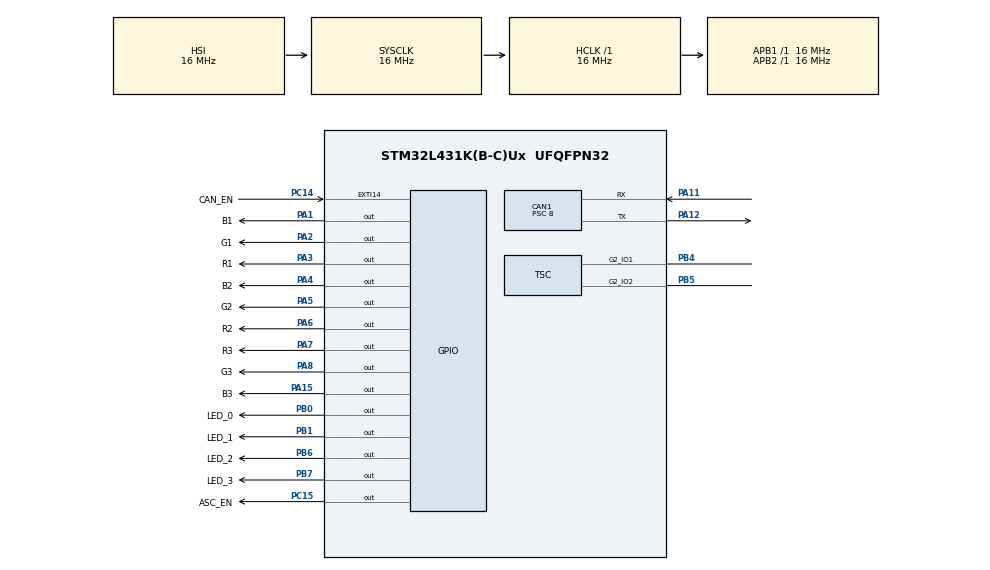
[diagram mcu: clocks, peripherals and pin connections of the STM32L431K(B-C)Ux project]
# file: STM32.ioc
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CAN1.ABOM=ENABLE
CAN1.AWUM=ENABLE
CAN1.BS1=CAN_BS1_13TQ
CAN1.BS2=CAN_BS2_2TQ
CAN1.CalculateBaudRate=125000
CAN1.CalculateTimeBit=8000
CAN1.CalculateTimeQuantum=500.0
CAN1.Prescaler=8
CAN1.SJW=CAN_SJW_4TQ
FREERTOS.HEAP_NUMBER=5
FREERTOS.INCLUDE_pcTaskGetTaskName=1
FREERTOS.INCLUDE_vTaskCleanUpResources=1
FREERTOS.Queues01=PPO2Queue,1,CellValues_t,0,Static,PPO2QueueBuffer,PPO2QueueControlBlock;CellStatQueue,1,uint8_t,0,Static,CellStatBuffer,CellStatControlBlock
FREERTOS.Tasks01=TSCTask,24,128,TSCTaskFunc,Default,NULL,Static,TSCTaskBuffer,TSCTaskControlBlock;BlinkTask,32,512,BlinkTaskFunc,Default,NULL,Static,BlinkTaskBuffer,BlinkTaskControlBlock;AlertTask,24,128,AlertTaskFunc,Default,NULL,Static,AlertTaskBuffer,AlertTaskControlBlock
FREERTOS.configCHECK_FOR_STACK_OVERFLOW=2
FREERTOS.configENABLE_BACKWARD_COMPATIBILITY=0
FREERTOS.configENABLE_FPU=1
FREERTOS.configGENERATE_RUN_TIME_STATS=1
FREERTOS.configRECORD_STACK_HIGH_ADDRESS=1
FREERTOS.configTICK_RATE_HZ=100
FREERTOS.configTOTAL_HEAP_SIZE=1024
FREERTOS.configUSE_IDLE_HOOK=1
FREERTOS.configUSE_MALLOC_FAILED_HOOK=1
FREERTOS.configUSE_NEWLIB_REENTRANT=1
FREERTOS.configUSE_PREEMPTION=0
FREERTOS.configUSE_STATS_FORMATTING_FUNCTIONS=1
FREERTOS.configUSE_TICKLESS_IDLE=1
IWDG.Prescaler=IWDG_PRESCALER_32
Mcu.Family=STM32L4
Mcu.Name=STM32L431K(B-C)Ux
Mcu.Package=UFQFPN32
NVIC.CAN1_RX0_IRQn=true\:5\:0\:false\:true\:true\:2\:true\:true\:true\:true
NVIC.CAN1_RX1_IRQn=true\:5\:0\:false\:true\:true\:3\:true\:true\:true\:true
NVIC.EXTI15_10_IRQn=true\:5\:0\:false\:true\:true\:1\:true\:true\:true\:true
NVIC.PriorityGroup=NVIC_PRIORITYGROUP_4
NVIC.TIM6_DAC_IRQn=true\:15\:0\:false\:false\:true\:false\:false\:true\:true
NVIC.TIM7_IRQn=true\:5\:0\:false\:false\:true\:true\:true\:true\:true
NVIC.TimeBase=TIM6_DAC_IRQn
NVIC.TimeBaseIP=TIM6
PA0.Mode=HSE-External-Clock-Source-for-LittleOrca
PA0.Signal=RCC_CK_IN
PA1.GPIO_Label=B1
PA1.Signal=GPIO_Output
PA11.Mode=CAN_Activate
PA11.Signal=CAN1_RX
PA12.Mode=CAN_Activate
PA12.Signal=CAN1_TX
PA13\ (JTMS-SWDIO).Mode=Trace_Asynchronous_SW
PA13\ (JTMS-SWDIO).Signal=SYS_JTMS-SWDIO
PA14\ (JTCK-SWCLK).Mode=Trace_Asynchronous_SW
PA14\ (JTCK-SWCLK).Signal=SYS_JTCK-SWCLK
PA15\ (JTDI).GPIO_Label=B3
PA15\ (JTDI).Signal=GPIO_Output
PA2.GPIO_Label=G1
PA2.Signal=GPIO_Output
PA3.GPIO_Label=R1
PA3.Signal=GPIO_Output
PA4.GPIO_Label=B2
PA4.Signal=GPIO_Output
PA5.GPIO_Label=G2
PA5.Signal=GPIO_Output
PA6.GPIO_Label=R2
PA6.Signal=GPIO_Output
PA7.GPIO_Label=R3
PA7.Signal=GPIO_Output
PA8.GPIO_Label=G3
PA8.Signal=GPIO_Output
PB0.GPIO_Label=LED_0
PB0.Signal=GPIO_Output
PB1.GPIO_Label=LED_1
PB1.Signal=GPIO_Output
PB3\ (JTDO-TRACESWO).Mode=Trace_Asynchronous_SW
PB3\ (JTDO-TRACESWO).Signal=SYS_JTDO-SWO
PB4\ (NJTRST).Mode=G2_IO1-Channel
PB4\ (NJTRST).Signal=TSC_G2_IO1
PB5.Mode=G2_IO2-Sampling
PB5.Signal=TSC_G2_IO2
PB6.GPIO_Label=LED_2
PB6.Signal=GPIO_Output
PB7.GPIO_Label=LED_3
PB7.Signal=GPIO_Output
PC14-OSC32_IN\ (PC14).GPIO_Label=CAN_EN
PC14-OSC32_IN\ (PC14).Signal=GPXTI14
PC15-OSC32_OUT\ (PC15).GPIO_Label=ASC_EN
PC15-OSC32_OUT\ (PC15).Signal=GPIO_Output
ProjectManager.HeapSize=0x200
ProjectManager.StackSize=0x400
ProjectManager.TargetToolchain=Makefile
RCC.ADCFreq_Value=32000000
RCC.AHBFreq_Value=16000000
RCC.APB1Freq_Value=16000000
RCC.APB1TimFreq_Value=16000000
RCC.APB2Freq_Value=16000000
RCC.APB2TimFreq_Value=16000000
RCC.CortexFreq_Value=16000000
RCC.HCLKFreq_Value=16000000
RCC.HSE_VALUE=8000000
RCC.HSI48_VALUE=48000000
RCC.HSI_VALUE=16000000
RCC.LSE_VALUE=32768
RCC.MSI_VALUE=4000000
RCC.PLLR=RCC_PLLR_DIV8
RCC.PLLSourceVirtual=RCC_PLLSOURCE_HSE
RCC.SYSCLKFreq_VALUE=16000000
RCC.SYSCLKSource=RCC_SYSCLKSOURCE_HSI
RCC.VCOOutputFreq_Value=64000000
SYS.PVDLevel=PWR_PVDLEVEL_6
TIM7.Period=1600
TOUCHSENSING.IO_TOUCHKEY_B1=G2_IO1
TOUCHSENSING.TSLPRM_SENSORS_DATAS=TSLPRM_TOTAL_TOUCHKEYS_B 1 1 
TOUCHSENSING.TSLPRM_TKEY_DETECT_IN_TH=20
TOUCHSENSING.TSLPRM_TKEY_DETECT_OUT_TH=15
TOUCHSENSING.TSLPRM_TOTAL_TOUCHKEYS=0
TOUCHSENSING.TSLPRM_TOTAL_TOUCHKEYS_B=1
TSC.ChannelIOs-G2_IO1=TSC_GROUP2_IO1
TSC.IODefaultMode=TSC_IODEF_OUT_PP_LOW
TSC.SamplingIOs=TSC_GROUP2_IO2
VP_CRC_VS_CRC.Mode=CRC_Activate
VP_FREERTOS_VS_CMSIS_V2.Mode=CMSIS_V2
VP_IWDG_VS_IWDG.Mode=IWDG_Activate
VP_SYS_VS_LPOM.Mode=PowerOptimisation
VP_SYS_VS_tim6.Mode=TIM6
VP_SYS_V_PVD_IN.Mode=Mode_PVD_Int
VP_TIM7_VS_ClockSourceINT.Mode=Enable_Timer
VP_TOUCHSENSING_VS_TOUCHSENSING.Mode=TouchSensing_Enabled
board=custom

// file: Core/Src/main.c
/* USER CODE BEGIN Header */
/**
 ******************************************************************************
 * @file           : main.c
 * @brief          : Main program body
 ******************************************************************************
 * @attention
 *
 * Copyright (c) 2025 STMicroelectronics.
 * All rights reserved.
 *
 * This software is licensed under terms that can be found in the LICENSE file
 * in the root directory of this software component.
 * If no LICENSE file comes with this software, it is provided AS-IS.
 *
 ******************************************************************************
 */
/* USER CODE END Header */
#include "main.h"
#include "cmsis_os.h"
#include "touchsensing.h"

/* USER CODE BEGIN Includes */
#include "Hardware/leds.h"
#include "DiveCAN/DiveCAN.h"
#include "DiveCAN/Transciever.h"
#include "Hardware/pwr_management.h"
#include "Hardware/flash.h"
#include "menu_state_machine.h"
#include "HUDControl.h"
/* USER CODE END Includes */

typedef StaticTask_t osStaticThreadDef_t;
typedef StaticQueue_t osStaticMessageQDef_t;

CAN_HandleTypeDef hcan1;

CRC_HandleTypeDef hcrc;

IWDG_HandleTypeDef hiwdg;

TIM_HandleTypeDef htim7;

TSC_HandleTypeDef htsc;

/* Definitions for TSCTask */
osThreadId_t TSCTaskHandle;
uint32_t TSCTaskBuffer[128];
osStaticThreadDef_t TSCTaskControlBlock;
const osThreadAttr_t TSCTask_attributes = {
    .name = "TSCTask",
    .cb_mem = &TSCTaskControlBlock,
    .cb_size = sizeof(TSCTaskControlBlock),
    .stack_mem = &TSCTaskBuffer[0],
    .stack_size = sizeof(TSCTaskBuffer),
    .priority = (osPriority_t)osPriorityNormal,
};
/* Definitions for BlinkTask */
osThreadId_t BlinkTaskHandle;
uint32_t BlinkTaskBuffer[512];
osStaticThreadDef_t BlinkTaskControlBlock;
const osThreadAttr_t BlinkTask_attributes = {
    .name = "BlinkTask",
    .cb_mem = &BlinkTaskControlBlock,
    .cb_size = sizeof(BlinkTaskControlBlock),
    .stack_mem = &BlinkTaskBuffer[0],
    .stack_size = sizeof(BlinkTaskBuffer),
    .priority = (osPriority_t)osPriorityAboveNormal,
};
/* Definitions for AlertTask */
osThreadId_t AlertTaskHandle;
uint32_t AlertTaskBuffer[128];
osStaticThreadDef_t AlertTaskControlBlock;
const osThreadAttr_t AlertTask_attributes = {
    .name = "AlertTask",
    .cb_mem = &AlertTaskControlBlock,
    .cb_size = sizeof(AlertTaskControlBlock),
    .stack_mem = &AlertTaskBuffer[0],
    .stack_size = sizeof(AlertTaskBuffer),
    .priority = (osPriority_t)osPriorityNormal,
};
/* Definitions for PPO2Queue */
osMessageQueueId_t PPO2QueueHandle;
uint8_t PPO2QueueBuffer[1 * sizeof(CellValues_t)];
osStaticMessageQDef_t PPO2QueueControlBlock;
const osMessageQueueAttr_t PPO2Queue_attributes = {
    .name = "PPO2Queue",
    .cb_mem = &PPO2QueueControlBlock,
    .cb_size = sizeof(PPO2QueueControlBlock),
    .mq_mem = &PPO2QueueBuffer,
    .mq_size = sizeof(PPO2QueueBuffer)};
/* Definitions for CellStatQueue */
osMessageQueueId_t CellStatQueueHandle;
uint8_t CellStatBuffer[1 * sizeof(uint8_t)];
osStaticMessageQDef_t CellStatControlBlock;
const osMessageQueueAttr_t CellStatQueue_attributes = {
    .name = "CellStatQueue",
    .cb_mem = &CellStatControlBlock,
    .cb_size = sizeof(CellStatControlBlock),
    .mq_mem = &CellStatBuffer,
    .mq_size = sizeof(CellStatBuffer)};
/* Definitions for CalStateQueue */
osMessageQueueId_t CalStateQueueHandle;
uint8_t CalStateBuffer[1 * sizeof(CalibrationState_t)];
osStaticMessageQDef_t CalStateControlBlock;
const osMessageQueueAttr_t CalStateQueue_attributes = {
    .name = "CalStateQueue",
    .cb_mem = &CalStateControlBlock,
    .cb_size = sizeof(CalStateControlBlock),
    .mq_mem = &CalStateBuffer,
    .mq_size = sizeof(CalStateBuffer)};

void SystemClock_Config(void);
static void MX_GPIO_Init(void);
static void MX_CAN1_Init(void);
static void MX_TSC_Init(void);
static void MX_CRC_Init(void);
static void MX_IWDG_Init(void);
static void MX_TIM7_Init(void);
void TSCTaskFunc(void *argument);
void BlinkTaskFunc(void *argument);
void AlertTaskFunc(void *argument);

static void MX_NVIC_Init(void);

/* USER CODE BEGIN 0 */

/* Standard HAL structure defined globally or in main */
extern TSC_HandleTypeDef htsc;

uint32_t Get_TSC_RawValue(uint32_t ChannelIO, uint32_t SamplingIO, uint32_t GroupIndex)
{
  uint32_t raw_value = 0;
  TSC_IOConfigTypeDef ioConfig = {0};

  // 1. Discharge all IOs to ensure a clean starting state
  HAL_TSC_IODischarge(&htsc, ENABLE);
  HAL_Delay(1); // Wait for discharge (depends on Cs value)
  HAL_TSC_IODischarge(&htsc, DISABLE);

  // 2. Configure the specific IO Group for this measurement
  ioConfig.ChannelIOs = ChannelIO;   // e.g., TSC_GROUP2_IO1
  ioConfig.SamplingIOs = SamplingIO; // e.g., TSC_GROUP2_IO2
  if (HAL_TSC_IOConfig(&htsc, &ioConfig) != HAL_OK)
  {
    return 0xFFFF; // Error
  }

  // 3. Start acquisition and poll for completion
  if (HAL_TSC_Start(&htsc) == HAL_OK)
  {
    // Polling avoids the need for the RTOS scheduler or interrupts
    if (HAL_TSC_PollForAcquisition(&htsc) == HAL_OK)
    {
      // 4. Retrieve the raw counter value for the group
      raw_value = HAL_TSC_GroupGetValue(&htsc, GroupIndex);
    }
    else
    {
      NON_FATAL_ERROR(TSC_ERR);
    }
  }
  else
  {
    NON_FATAL_ERROR(TSC_ERR);
  }

  return raw_value;
}

/* USER CODE END 0 */

int main(void)
{

  /* MCU Configuration--------------------------------------------------------*/

  /* Reset of all peripherals, Initializes the Flash interface and the Systick. */
  HAL_Init();

  /* Configure the system clock */
  SystemClock_Config();

  /* Initialize all configured peripherals */
  MX_GPIO_Init();
  MX_CAN1_Init();
  MX_TSC_Init();
  MX_TOUCHSENSING_Init();
  MX_CRC_Init();
  MX_IWDG_Init();
  MX_TIM7_Init();

  /* Initialize interrupts */
  MX_NVIC_Init();
  /* USER CODE BEGIN 2 */

  // Check for finger before starting up

  const uint16_t LED_Pins[4] = {LED_0_Pin, LED_1_Pin, LED_2_Pin, LED_3_Pin};
  GPIO_TypeDef *LED_Ports[4] = {LED_0_GPIO_Port, LED_1_GPIO_Port, LED_2_GPIO_Port, LED_3_GPIO_Port};

  for (uint8_t i = 0; i < 4; i++)
  {
    volatile uint32_t touchVal = Get_TSC_RawValue(TSC_GROUP2_IO1, TSC_GROUP2_IO2, TSC_GROUP2_IDX);
    if (touchVal > 590)
    {
      Shutdown();
    }
    HAL_GPIO_WritePin(LED_Ports[i], LED_Pins[i], GPIO_PIN_SET);
    HAL_Delay(500);
    (void)HAL_IWDG_Refresh(&hiwdg);
  }

  initFlash();

  const DiveCANDevice_t defaultDeviceSpec = {
      .name = "ALHUD",
      .type = DIVECAN_MONITOR,
      .manufacturerID = DIVECAN_MANUFACTURER_SRI,
      .firmwareVersion = 1};

  (void)HAL_IWDG_Refresh(&hiwdg);
  initLEDs();

  InitDiveCAN(&defaultDeviceSpec);
  /* USER CODE END 2 */

  /* Init scheduler */
  osKernelInitialize();

  /* Create the queue(s) */
  /* creation of PPO2Queue */
  PPO2QueueHandle = osMessageQueueNew(1, sizeof(CellValues_t), &PPO2Queue_attributes);

  /* creation of CellStatQueue */
  CellStatQueueHandle = osMessageQueueNew(1, sizeof(uint8_t), &CellStatQueue_attributes);

  /* creation of CalStateQueue */
  CalStateQueueHandle = osMessageQueueNew(1, sizeof(CalibrationState_t), &CalStateQueue_attributes);

  /* Create the thread(s) */
  /* creation of TSCTask */
  TSCTaskHandle = osThreadNew(TSCTaskFunc, NULL, &TSCTask_attributes);

  /* creation of BlinkTask */
  BlinkTaskHandle = osThreadNew(BlinkTaskFunc, NULL, &BlinkTask_attributes);

  /* creation of AlertTask */
  AlertTaskHandle = osThreadNew(AlertTaskFunc, NULL, &AlertTask_attributes);

  /* Start scheduler */
  osKernelStart();

  /* We should never get here as control is now taken by the scheduler */

  /* Infinite loop */
  while (1)
  {

    /* USER CODE BEGIN 3 */
    NVIC_SystemReset();
  }
  /* USER CODE END 3 */
}

void SystemClock_Config(void)
{
  RCC_OscInitTypeDef RCC_OscInitStruct = {0};
  RCC_ClkInitTypeDef RCC_ClkInitStruct = {0};

  /** Configure the main internal regulator output voltage
   */
  if (HAL_PWREx_ControlVoltageScaling(PWR_REGULATOR_VOLTAGE_SCALE1) != HAL_OK)
  {
    Error_Handler();
  }

  /** Initializes the RCC Oscillators according to the specified parameters
   * in the RCC_OscInitTypeDef structure.
   */
  RCC_OscInitStruct.OscillatorType = RCC_OSCILLATORTYPE_HSI | RCC_OSCILLATORTYPE_LSI;
  RCC_OscInitStruct.HSIState = RCC_HSI_ON;
  RCC_OscInitStruct.HSICalibrationValue = RCC_HSICALIBRATION_DEFAULT;
  RCC_OscInitStruct.LSIState = RCC_LSI_ON;
  RCC_OscInitStruct.PLL.PLLState = RCC_PLL_NONE;
  if (HAL_RCC_OscConfig(&RCC_OscInitStruct) != HAL_OK)
  {
    Error_Handler();
  }

  /** Initializes the CPU, AHB and APB buses clocks
   */
  RCC_ClkInitStruct.ClockType = RCC_CLOCKTYPE_HCLK | RCC_CLOCKTYPE_SYSCLK | RCC_CLOCKTYPE_PCLK1 | RCC_CLOCKTYPE_PCLK2;
  RCC_ClkInitStruct.SYSCLKSource = RCC_SYSCLKSOURCE_HSI;
  RCC_ClkInitStruct.AHBCLKDivider = RCC_SYSCLK_DIV1;
  RCC_ClkInitStruct.APB1CLKDivider = RCC_HCLK_DIV1;
  RCC_ClkInitStruct.APB2CLKDivider = RCC_HCLK_DIV1;

  if (HAL_RCC_ClockConfig(&RCC_ClkInitStruct, FLASH_LATENCY_0) != HAL_OK)
  {
    Error_Handler();
  }
}

/**
 * @brief NVIC Configuration.
 * @retval None
 */
static void MX_NVIC_Init(void)
{
  /* EXTI15_10_IRQn interrupt configuration */
  HAL_NVIC_SetPriority(EXTI15_10_IRQn, 5, 0);
  HAL_NVIC_EnableIRQ(EXTI15_10_IRQn);
  /* CAN1_RX0_IRQn interrupt configuration */
  HAL_NVIC_SetPriority(CAN1_RX0_IRQn, 5, 0);
  HAL_NVIC_EnableIRQ(CAN1_RX0_IRQn);
  /* CAN1_RX1_IRQn interrupt configuration */
  HAL_NVIC_SetPriority(CAN1_RX1_IRQn, 5, 0);
  HAL_NVIC_EnableIRQ(CAN1_RX1_IRQn);
}

static void MX_CAN1_Init(void)
{

  hcan1.Instance = CAN1;
  hcan1.Init.Prescaler = 8;
  hcan1.Init.Mode = CAN_MODE_NORMAL;
  hcan1.Init.SyncJumpWidth = CAN_SJW_4TQ;
  hcan1.Init.TimeSeg1 = CAN_BS1_13TQ;
  hcan1.Init.TimeSeg2 = CAN_BS2_2TQ;
  hcan1.Init.TimeTriggeredMode = DISABLE;
  hcan1.Init.AutoBusOff = ENABLE;
  hcan1.Init.AutoWakeUp = ENABLE;
  hcan1.Init.AutoRetransmission = DISABLE;
  hcan1.Init.ReceiveFifoLocked = DISABLE;
  hcan1.Init.TransmitFifoPriority = DISABLE;
  if (HAL_CAN_Init(&hcan1) != HAL_OK)
  {
    Error_Handler();
  }
  /* USER CODE BEGIN CAN1_Init 2 */
  CAN_FilterTypeDef sFilterConfig = {0};
  sFilterConfig.FilterFIFOAssignment = CAN_FILTER_FIFO0; /* set fifo assignment */
  sFilterConfig.FilterIdHigh = 0;
  sFilterConfig.FilterIdLow = 0;
  sFilterConfig.FilterMaskIdHigh = 0;
  sFilterConfig.FilterMaskIdLow = 0;
  sFilterConfig.FilterScale = CAN_FILTERSCALE_32BIT; /* set filter scale */
  sFilterConfig.FilterActivation = ENABLE;
  (void)HAL_CAN_ConfigFilter(&hcan1, &sFilterConfig);
  (void)HAL_CAN_Start(&hcan1);                                             /* start CAN */
  (void)HAL_CAN_ActivateNotification(&hcan1, CAN_IT_RX_FIFO0_MSG_PENDING); /* enable interrupts */
  /* USER CODE END CAN1_Init 2 */
}

static void MX_CRC_Init(void)
{

  hcrc.Instance = CRC;
  hcrc.Init.DefaultPolynomialUse = DEFAULT_POLYNOMIAL_ENABLE;
  hcrc.Init.DefaultInitValueUse = DEFAULT_INIT_VALUE_ENABLE;
  hcrc.Init.InputDataInversionMode = CRC_INPUTDATA_INVERSION_NONE;
  hcrc.Init.OutputDataInversionMode = CRC_OUTPUTDATA_INVERSION_DISABLE;
  hcrc.InputDataFormat = CRC_INPUTDATA_FORMAT_BYTES;
  if (HAL_CRC_Init(&hcrc) != HAL_OK)
  {
    Error_Handler();
  }
}

static void MX_IWDG_Init(void)
{

  hiwdg.Instance = IWDG;
  hiwdg.Init.Prescaler = IWDG_PRESCALER_32;
  hiwdg.Init.Window = 4095;
  hiwdg.Init.Reload = 4095;
  if (HAL_IWDG_Init(&hiwdg) != HAL_OK)
  {
    Error_Handler();
  }
  /* USER CODE BEGIN IWDG_Init 2 */
  /* Freeze the IWDG on debug so we don't need to disable it as a matter of routine */
  __HAL_DBGMCU_FREEZE_IWDG();
  /* USER CODE END IWDG_Init 2 */
}

static void MX_TIM7_Init(void)
{

  TIM_MasterConfigTypeDef sMasterConfig = {0};

  htim7.Instance = TIM7;
  htim7.Init.Prescaler = 0;
  htim7.Init.CounterMode = TIM_COUNTERMODE_UP;
  htim7.Init.Period = 1600;
  htim7.Init.AutoReloadPreload = TIM_AUTORELOAD_PRELOAD_DISABLE;
  if (HAL_TIM_Base_Init(&htim7) != HAL_OK)
  {
    Error_Handler();
  }
  sMasterConfig.MasterOutputTrigger = TIM_TRGO_RESET;
  sMasterConfig.MasterSlaveMode = TIM_MASTERSLAVEMODE_DISABLE;
  if (HAL_TIMEx_MasterConfigSynchronization(&htim7, &sMasterConfig) != HAL_OK)
  {
    Error_Handler();
  }
}

static void MX_TSC_Init(void)
{

  /** Configure the TSC peripheral
   */
  htsc.Instance = TSC;
  htsc.Init.CTPulseHighLength = TSC_CTPH_2CYCLES;
  htsc.Init.CTPulseLowLength = TSC_CTPL_2CYCLES;
  htsc.Init.SpreadSpectrum = DISABLE;
  htsc.Init.SpreadSpectrumDeviation = 1;
  htsc.Init.SpreadSpectrumPrescaler = TSC_SS_PRESC_DIV1;
  htsc.Init.PulseGeneratorPrescaler = TSC_PG_PRESC_DIV4;
  htsc.Init.MaxCountValue = TSC_MCV_8191;
  htsc.Init.IODefaultMode = TSC_IODEF_OUT_PP_LOW;
  htsc.Init.SynchroPinPolarity = TSC_SYNC_POLARITY_FALLING;
  htsc.Init.AcquisitionMode = TSC_ACQ_MODE_NORMAL;
  htsc.Init.MaxCountInterrupt = DISABLE;
  htsc.Init.ChannelIOs = TSC_GROUP2_IO1;
  htsc.Init.ShieldIOs = 0;
  htsc.Init.SamplingIOs = TSC_GROUP2_IO2;
  if (HAL_TSC_Init(&htsc) != HAL_OK)
  {
    Error_Handler();
  }
}

static void MX_GPIO_Init(void)
{
  GPIO_InitTypeDef GPIO_InitStruct = {0};

  /* GPIO Ports Clock Enable */
  __HAL_RCC_GPIOC_CLK_ENABLE();
  __HAL_RCC_GPIOA_CLK_ENABLE();
  __HAL_RCC_GPIOB_CLK_ENABLE();
  __HAL_RCC_GPIOH_CLK_ENABLE();

  /*Configure GPIO pin Output Level */
  HAL_GPIO_WritePin(ASC_EN_GPIO_Port, ASC_EN_Pin, GPIO_PIN_RESET);

  /*Configure GPIO pin Output Level */
  HAL_GPIO_WritePin(GPIOA, B1_Pin | G1_Pin | R1_Pin | B2_Pin | G2_Pin | R2_Pin | R3_Pin | G3_Pin | B3_Pin, GPIO_PIN_RESET);

  /*Configure GPIO pin Output Level */
  HAL_GPIO_WritePin(GPIOB, LED_0_Pin | LED_1_Pin | LED_2_Pin | LED_3_Pin, GPIO_PIN_RESET);

  /*Configure GPIO pin : CAN_EN_Pin */
  GPIO_InitStruct.Pin = CAN_EN_Pin;
  GPIO_InitStruct.Mode = GPIO_MODE_IT_RISING;
  GPIO_InitStruct.Pull = GPIO_NOPULL;
  HAL_GPIO_Init(CAN_EN_GPIO_Port, &GPIO_InitStruct);

  /*Configure GPIO pin : ASC_EN_Pin */
  GPIO_InitStruct.Pin = ASC_EN_Pin;
  GPIO_InitStruct.Mode = GPIO_MODE_OUTPUT_PP;
  GPIO_InitStruct.Pull = GPIO_NOPULL;
  GPIO_InitStruct.Speed = GPIO_SPEED_FREQ_LOW;
  HAL_GPIO_Init(ASC_EN_GPIO_Port, &GPIO_InitStruct);

  /*Configure GPIO pins : B1_Pin G1_Pin R1_Pin B2_Pin
                           G2_Pin R2_Pin R3_Pin G3_Pin
                           B3_Pin */
  GPIO_InitStruct.Pin = B1_Pin | G1_Pin | R1_Pin | B2_Pin | G2_Pin | R2_Pin | R3_Pin | G3_Pin | B3_Pin;
  GPIO_InitStruct.Mode = GPIO_MODE_OUTPUT_PP;
  GPIO_InitStruct.Pull = GPIO_NOPULL;
  GPIO_InitStruct.Speed = GPIO_SPEED_FREQ_LOW;
  HAL_GPIO_Init(GPIOA, &GPIO_InitStruct);

  /*Configure GPIO pins : LED_0_Pin LED_1_Pin LED_2_Pin LED_3_Pin */
  GPIO_InitStruct.Pin = LED_0_Pin | LED_1_Pin | LED_2_Pin | LED_3_Pin;
  GPIO_InitStruct.Mode = GPIO_MODE_OUTPUT_PP;
  GPIO_InitStruct.Pull = GPIO_NOPULL;
  GPIO_InitStruct.Speed = GPIO_SPEED_FREQ_LOW;
  HAL_GPIO_Init(GPIOB, &GPIO_InitStruct);

  /*Configure GPIO pins : PA9 PA10 */
  GPIO_InitStruct.Pin = GPIO_PIN_9 | GPIO_PIN_10;
  GPIO_InitStruct.Mode = GPIO_MODE_ANALOG;
  GPIO_InitStruct.Pull = GPIO_NOPULL;
  HAL_GPIO_Init(GPIOA, &GPIO_InitStruct);

  /*Configure GPIO pin : PH3 */
  GPIO_InitStruct.Pin = GPIO_PIN_3;
  GPIO_InitStruct.Mode = GPIO_MODE_ANALOG;
  GPIO_InitStruct.Pull = GPIO_NOPULL;
  HAL_GPIO_Init(GPIOH, &GPIO_InitStruct);

}

/* USER CODE BEGIN 4 */
void TSC_Handler(void)
{
  if (MyTKeysB[0].p_Data->StateId == TSL_STATEID_DETECT)
  {
    // HAL_GPIO_WritePin(LED_0_GPIO_Port, LED_0_Pin, GPIO_PIN_SET);
    onButtonPress();
  }
  else if (MyTKeysB[0].p_Data->StateId == TSL_STATEID_RELEASE)
  {
    // HAL_GPIO_WritePin(LED_0_GPIO_Port, LED_0_Pin, GPIO_PIN_RESET);
    onButtonRelease();
  }
}
/* USER CODE END 4 */

void TSCTaskFunc(void *argument)
{
  /* USER CODE BEGIN 5 */
  /* Infinite loop */
  for (;;)
  {
    tsl_user_Exec();
    TSC_Handler();
    menuStateMachineTick();
    osDelay(1);
  }
  /* USER CODE END 5 */
}

void BlinkTaskFunc(void *argument)
{
  /* USER CODE BEGIN BlinkTaskFunc */
  RGBBlinkControl();
  /* USER CODE END BlinkTaskFunc */
}

void AlertTaskFunc(void *argument)
{
  /* USER CODE BEGIN AlertTaskFunc */
  EndBlinkControl();
  /* USER CODE END AlertTaskFunc */
}

void HAL_TIM_PeriodElapsedCallback(TIM_HandleTypeDef *htim)
{
  if (htim->Instance == TIM6)
  {
    HAL_IncTick();
  }
}

void Error_Handler(void)
{
  /* USER CODE BEGIN Error_Handler_Debug */
  /* User can add his own implementation to report the HAL error return state */
  NON_FATAL_ERROR(CRITICAL_ERR);
  /* USER CODE END Error_Handler_Debug */
}

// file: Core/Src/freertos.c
/* USER CODE BEGIN Header */
/**
 ******************************************************************************
 * File Name          : freertos.c
 * Description        : Code for freertos applications
 ******************************************************************************
 * @attention
 *
 * Copyright (c) 2025 STMicroelectronics.
 * All rights reserved.
 *
 * This software is licensed under terms that can be found in the LICENSE file
 * in the root directory of this software component.
 * If no LICENSE file comes with this software, it is provided AS-IS.
 *
 ******************************************************************************
 */
/* USER CODE END Header */

#include "FreeRTOS.h"
#include "task.h"
#include "main.h"

/* USER CODE BEGIN Includes */
#include "common.h"
/* USER CODE END Includes */

/* USER CODE BEGIN PD */
extern TIM_HandleTypeDef htim7;
extern IWDG_HandleTypeDef hiwdg;
/* USER CODE END PD */

/* Hook prototypes */
void configureTimerForRunTimeStats(void);
RuntimeCounter_t getRunTimeCounterValue(void);
void vApplicationIdleHook(void);
void vApplicationStackOverflowHook(TaskHandle_t xTask, signed char *pcTaskName);
void vApplicationMallocFailedHook(void);

/* USER CODE BEGIN 1 */
__weak void configureTimerForRunTimeStats(void)
{
   (void)HAL_TIM_Base_Start_IT(&htim7);
}
extern volatile uint32_t ulHighFrequencyTimerTicks;
__weak RuntimeCounter_t getRunTimeCounterValue(void)
{
   return ulHighFrequencyTimerTicks;
}
/* USER CODE END 1 */

/* USER CODE BEGIN 2 */
void vApplicationIdleHook(void)
{
   /* vApplicationIdleHook() will only be called if configUSE_IDLE_HOOK is set
   to 1 in FreeRTOSConfig.h. It will be called on each iteration of the idle
   task. It is essential that code added to this hook function never attempts
   to block in any way (for example, call xQueueReceive() with a block time
   specified, or call vTaskDelay()). If the application makes use of the
   vTaskDelete() API function (as this demo application does) then it is also
   important that vApplicationIdleHook() is permitted to return to its calling
   function, because it is the responsibility of the idle task to clean up
   memory allocated by the kernel to any task that has since been deleted. */
   (void)HAL_IWDG_Refresh(&hiwdg);
}
/* USER CODE END 2 */

/* USER CODE BEGIN 4 */
void vApplicationStackOverflowHook(TaskHandle_t, signed char *pcTaskName)
{
   // volatile signed char *taskName = pcTaskName;
   // blocking_serial_printf("STACK OVERFLOW: %s", taskName);
   FATAL_ERROR(STACK_OVERFLOW_FERR);
   /* Run time stack overflow checking is performed if
   configCHECK_FOR_STACK_OVERFLOW is defined to 1 or 2. This hook function is
   called if a stack overflow is detected. */
}
/* USER CODE END 4 */

/* USER CODE BEGIN 5 */
void vApplicationMallocFailedHook(void)
{
   FATAL_ERROR(MALLOC_FAIL_FERR);
   /* vApplicationMallocFailedHook() will only be called if
   configUSE_MALLOC_FAILED_HOOK is set to 1 in FreeRTOSConfig.h. It is a hook
   function that will get called if a call to pvPortMalloc() fails.
   pvPortMalloc() is called internally by the kernel whenever a task, queue,
   timer or semaphore is created. It is also called by various parts of the
   demo application. If heap_1.c or heap_2.c are used, then the size of the
   heap available to pvPortMalloc() is defined by configTOTAL_HEAP_SIZE in
   FreeRTOSConfig.h, and the xPortGetFreeHeapSize() API function can be used
   to query the size of free heap space that remains (although it does not
   provide information on how the remaining heap might be fragmented). */
}
/* USER CODE END 5 */

/* USER CODE BEGIN PREPOSTSLEEP */
__weak void PreSleepProcessing(uint32_t ulExpectedIdleTime)
{
   (void)ulExpectedIdleTime;
   /* place for user code */
   (void)HAL_TIM_Base_Stop_IT(&htim7);
   HAL_NVIC_ClearPendingIRQ(TIM7_IRQn);
   HAL_PWR_EnterSLEEPMode(PWR_MAINREGULATOR_ON, PWR_SLEEPENTRY_WFI);
}

__weak void PostSleepProcessing(uint32_t ulExpectedIdleTime)
{
   (void)ulExpectedIdleTime;
   /* place for user code */
   (void)HAL_TIM_Base_Start_IT(&htim7);
}
/* USER CODE END PREPOSTSLEEP */
